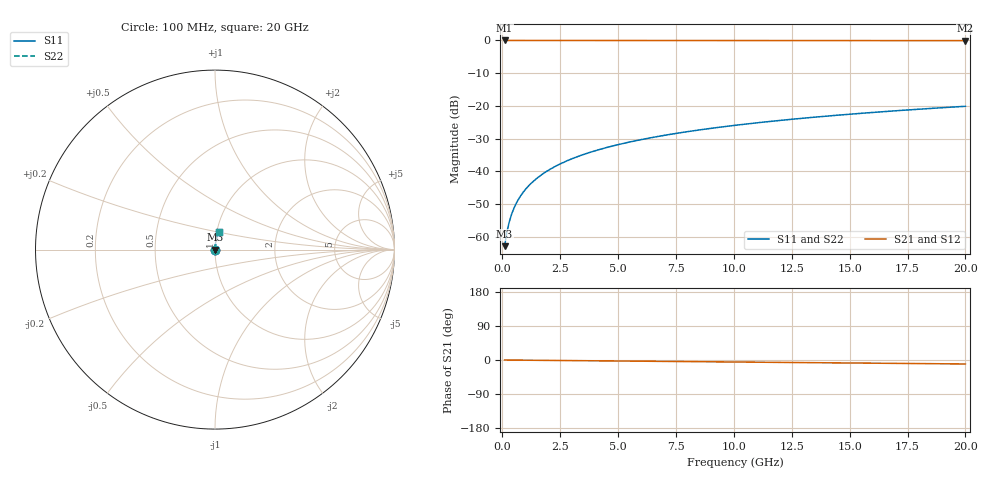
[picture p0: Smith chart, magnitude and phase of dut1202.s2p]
! Touchstone file exported from HFSS 2026.1.0
!  File:  C:/ffzhzh/LocalFiles/Ansys_Project_Files/temp_train_TSV_1202_1783192659_18472.aedt
!  Generated:  03:20:11 AM Jul  5, 2026
!  Design:  TSV
!  Project:  temp_train_TSV_1202_1783192659_18472
! Variables:
!  h_bsmrdl = 2um
!  h_ox = 20um
!  h_rdl = 5um
!  h_sub = 85.31um
!  h_tmrdl = 5um
!  h_tsv = 85.31um
!  h_via = 3um
!  l_bsmrdl = 300um
!  l_sub = 409.38um
!  l_tmrdl = 200um
!  m_sub = 200um
!  pitch = 48.64um
!  r_tsv = 4.69um
!  s_tmrdl = 10um
!  w_bsmrdl = 18um
!  w_sub = 500um
!  w_tmrdl = 12um
!  x_tsv_center1 = 206um
!  x_tsv_center2 = 524um
!  x_tsv_center3 = 736um
!  x_tsv_center4 = 1054um
!  x_tsv_center5 = 1266um
!  x_tsv_center6 = 1584um
# GHz S MA R 50.000000
! Terminal data exported
! Port[1] = TSV1_1_T1
! Port[2] = TSV1_1_T2
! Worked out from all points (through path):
!   200 points, 100 MHz to 20 GHz, reference 50 ohm
!   highest |S21| = 0.00 dB at 100 MHz (marker M1); lowest = -0.1 dB at 20 GHz (marker M2)
!   group delay of S21, straight-line fit = 1.45 ps
!   lowest |S11| = -62.9 dB at 100 MHz (marker M3), VSWR 1.00, Z = 50 + j0.0539 ohm
!   |S11| at or under -10 dB: start of sweep to end of sweep
!   |S22| runs from -62.9 to -20.1 dB; largest |S21 - S12| = 4.5e-15
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0.1  0.0007171 48.7  0.9995 -0.1  0.9995 -0.1  0.0007171 48.7
! Gamma 0 0 0 0
! Port Impedance 50 0 50 0
0.2  0.001179 65.8  0.9995 -0.1  0.9995 -0.1  0.001179 65.8
0.3  0.001683 72.7  0.9995 -0.2  0.9995 -0.2  0.001683 72.7
0.4  0.002197 76.4  0.9995 -0.2  0.9995 -0.2  0.002197 76.4
0.5  0.002713 78.6  0.9995 -0.3  0.9995 -0.3  0.002713 78.6
0.7  0.003744 81.1  0.9994 -0.4  0.9994 -0.4  0.003744 81.1
0.8  0.004259 81.9  0.9994 -0.4  0.9994 -0.4  0.004259 81.9
1  0.005287 83.0  0.9994 -0.5  0.9994 -0.5  0.005287 83.0
1.2  0.006315 83.7  0.9993 -0.6  0.9993 -0.6  0.006315 83.7
1.4  0.007342 84.2  0.9993 -0.8  0.9993 -0.8  0.007342 84.2
1.7  0.00888 84.7  0.9993 -0.9  0.9993 -0.9  0.00888 84.7
2  0.01042 84.9  0.9992 -1.1  0.9992 -1.1  0.01042 84.9
2.7  0.01398 85.2  0.9991 -1.4  0.9991 -1.4  0.01398 85.2
3.5  0.01803 85.1  0.9989 -1.9  0.9989 -1.9  0.01803 85.1
4.2  0.02155 84.9  0.9987 -2.2  0.9987 -2.2  0.02155 84.9
5  0.02555 84.7  0.9985 -2.7  0.9985 -2.7  0.02555 84.7
6.8  0.03447 84.1  0.998 -3.6  0.998 -3.6  0.03447 84.1
8.3  0.04185 83.5  0.9976 -4.4  0.9976 -4.4  0.04185 83.5
10.1  0.05068 82.7  0.997 -5.3  0.997 -5.3  0.05068 82.7
13.4  0.06678 81.3  0.9958 -7.0  0.9958 -7.0  0.06678 81.3
16.7  0.08274 79.7  0.9944 -8.8  0.9944 -8.8  0.08274 79.7
20  0.09853 78.2  0.9928 -10.5  0.9928 -10.5  0.09853 78.2
